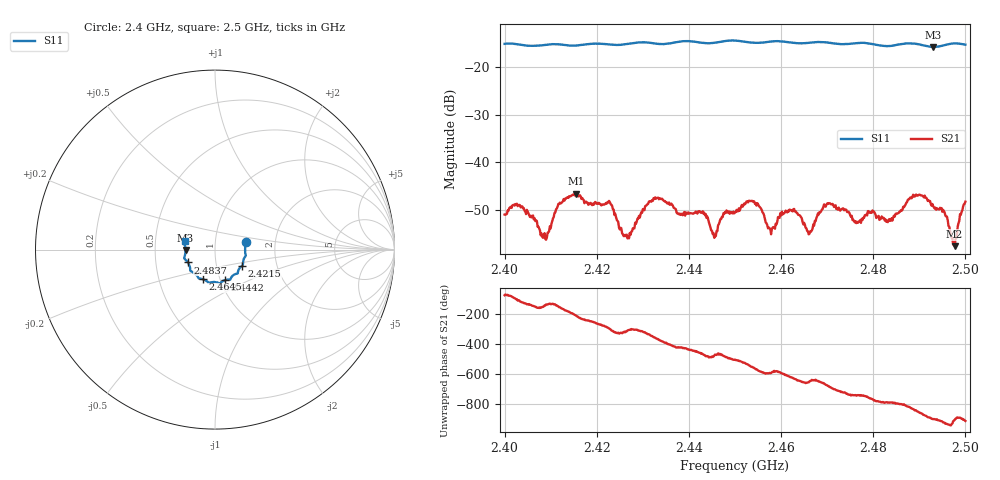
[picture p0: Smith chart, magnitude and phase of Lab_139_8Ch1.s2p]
# Hz S RI R 50
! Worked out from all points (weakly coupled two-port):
!   601 points, 2.4 GHz to 2.5 GHz, reference 50 ohm
!   highest |S21| = -46.69 dB at 2.4155 GHz (marker M1); lowest = -57.7 dB at 2.4977 GHz (marker M2)
!   lowest |S11| = -15.7 dB at 2.493 GHz (marker M3), VSWR 1.39, Z = 35.9 - j0.219 ohm
!   |S11| at or under -10 dB: start of sweep to end of sweep
!   S12 and S22 are empty: the file has one direction only
!   S11 on the Smith chart (normalised r, x): 2.4 GHz: 1.41, +0.12; 2.4215 GHz: 1.33, -0.25; 2.4442 GHz: 1.05, -0.37; 2.4645 GHz: 0.83, -0.29; 2.4837 GHz: 0.73, -0.11; 2.5 GHz: 0.71, +0.07
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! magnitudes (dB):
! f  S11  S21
! 2.4 GHz  -15.1  -51.1
! 2.4037 GHz  -15.3  -49.4
! 2.4087 GHz  -15.3  -55.0
! 2.4117 GHz  -15.2  -48.8
! 2.4155 GHz  -15.4  -46.7
! 2.4167 GHz  -15.3  -47.8
! 2.4215 GHz  -15.1  -49.0
! 2.4265 GHz  -15.1  -55.3
! 2.4333 GHz  -15.1  -47.5
! 2.4442 GHz  -15.0  -52.0
! 2.4457 GHz  -14.8  -55.5
! 2.45 GHz  -14.4  -50.6
! 2.4577 GHz  -14.6  -54.1
! 2.4645 GHz  -15.0  -51.9
! 2.4667 GHz  -14.8  -54.4
! 2.4703 GHz  -14.8  -48.7
! 2.4833 GHz  -15.6  -52.2
! 2.4837 GHz  -15.5  -52.4
! 2.489 GHz  -15.0  -47.3
! 2.493 GHz  -15.7  -49.3
! 2.4977 GHz  -15.0  -57.7
! 2.5 GHz  -15.3  -48.3
